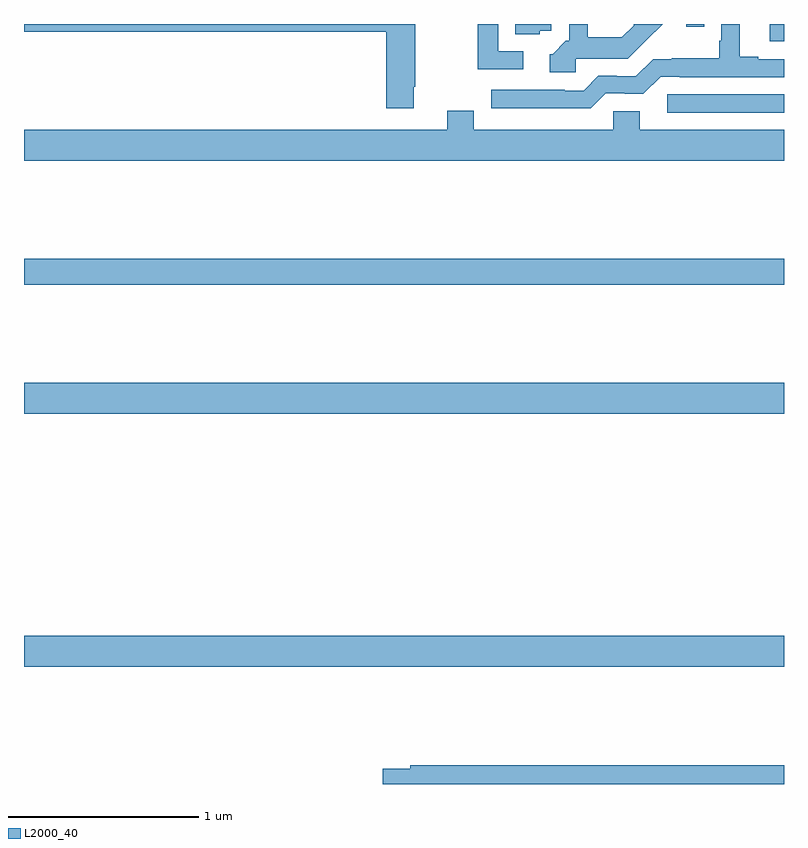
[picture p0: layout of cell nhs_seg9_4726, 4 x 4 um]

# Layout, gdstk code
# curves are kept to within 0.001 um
import gdstk
lib = gdstk.Library(unit=1e-6, precision=1e-09)
def R(c, l, rs):  # rectangles x0, y0, x1, y1
    for r in rs: c.add(gdstk.rectangle(r[:2], r[2:], *l))
def P(c, l, *ps):  # polygons
    for p in ps: c.add(gdstk.Polygon(p, *l))
L2000_40 = (2000, 40)

nhs_seg9_4726 = lib.new_cell('nhs_seg9_4726')
R(nhs_seg9_4726, L2000_40, [(385,1167.116,389,1167.28), (385,1168.448,389,1168.612), (385,1169.128,389,1169.264), (388.386,1170.033,389,1170.129), (388.925,1170.408,389,1170.5), (388.485,1170.486,388.581,1170.5)])
P(nhs_seg9_4726, L2000_40, [(388.062,1170.135),(388.163,1170.135),(388.163,1170.132),(388.26,1170.132),(388.35,1170.222),(388.45,1170.222),(388.45,1170.219),(389,1170.219),(389,1170.315),(388.864,1170.315),(388.864,1170.328),(388.768,1170.328),(388.768,1170.5),(388.671,1170.5),(388.671,1170.412),(388.659,1170.412),(388.659,1170.319),(388.408,1170.319),(388.408,1170.315),(388.311,1170.315),(388.221,1170.225),(388.121,1170.225),(388.121,1170.228),(388.023,1170.228),(387.945,1170.15),(387.845,1170.15),(387.845,1170.153),(387.459,1170.153),(387.459,1170.057),(387.983,1170.056)],
  [(387.052,1170.169),(387.06,1170.169),(387.06,1170.5),(385,1170.5),(385,1170.46),(386.906,1170.46),(386.906,1170.057),(387.052,1170.057)],
  [(387.714,1170.465),(387.774,1170.465),(387.774,1170.5),(387.585,1170.5),(387.585,1170.446),(387.714,1170.446)],
  [(387.628,1170.357),(387.495,1170.357),(387.495,1170.5),(387.387,1170.5),(387.387,1170.261),(387.628,1170.261)],
  [(387.903,1170.318),(388.177,1170.318),(388.361,1170.5),(388.209,1170.5),(388.209,1170.49),(388.147,1170.429),(387.968,1170.429),(387.968,1170.5),(387.87,1170.5),(387.87,1170.411),(387.852,1170.411),(387.783,1170.342),(387.767,1170.342),(387.767,1170.246),(387.903,1170.246)],
  [(389,1169.944),(388.24,1169.944),(388.24,1170.042),(388.101,1170.042),(388.101,1169.944),(387.367,1169.944),(387.367,1170.043),(387.227,1170.043),(387.227,1169.944),(385,1169.944),(385,1169.78),(389,1169.78)],
  [(389,1166.6),(387.034,1166.6),(387.034,1166.58),(386.888,1166.58),(386.888,1166.5),(389,1166.5)])

lib.write_gds('nhs_seg9_4726.gds')
